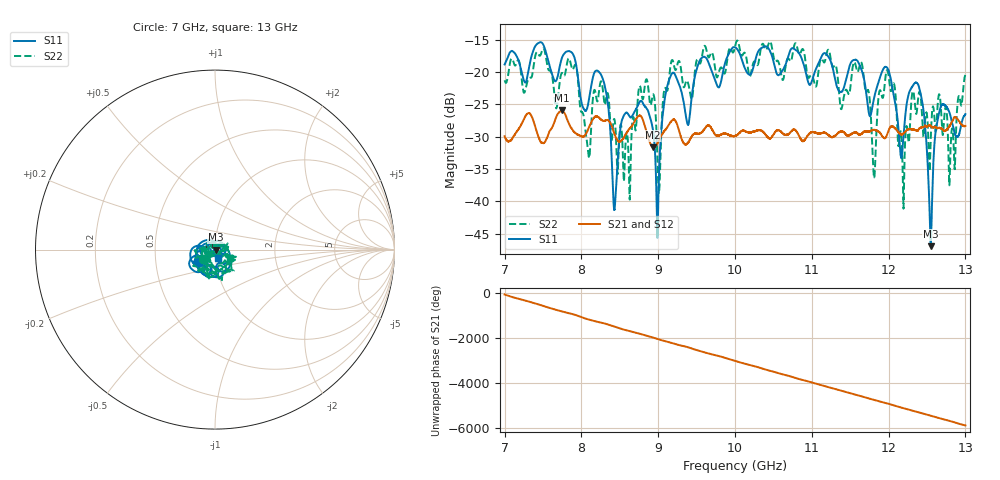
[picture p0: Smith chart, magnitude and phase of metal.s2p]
[Version] 2.0
! Rohde & Schwarz Vector Network Analyzer
! Rohde-Schwarz,ZNL20-2Port,1323001220200009,1.71.1.10-23.02.1.238
! Port Assignments:
! Nominal Port -> Actual Test Port
!  1 -> 1
!  2 -> 2
! Created: GMT+3 2024-09-24 15:50:20
# Hz S DB R 50
[Number of Ports] 2
[Two-Port Data Order] 21_12
! freq[Hz]  S11[mag dB]  S11[ang]  S21[mag dB]  S21[ang]  S12[mag dB]  S12[ang]  S22[mag dB]  S22[ang]
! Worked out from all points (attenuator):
!   6001 points, 7 GHz to 13 GHz, reference 50 ohm
!   highest |S21| = -25.95 dB at 7.746 GHz (marker M1); lowest = -31.7 dB at 8.931 GHz (marker M2)
!   lowest |S11| = -46.9 dB at 12.55 GHz (marker M3), VSWR 1.01, Z = 50.5 + j6.38e-05 ohm
!   |S11| at or under -10 dB: start of sweep to end of sweep
!   |S22| runs from -41.1 to -15.1 dB; largest |S21 - S12| = 0.0011
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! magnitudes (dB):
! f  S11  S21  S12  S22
! 7 GHz  -18.9  -29.9  -29.9  -21.3
! 7.746 GHz  -17.8  -26.0  -26.0  -20.2
! 8 GHz  -24.7  -29.9  -29.9  -26.2
! 8.093 GHz  -24.6  -28.7  -28.7  -32.9
! 8.278 GHz  -21.1  -27.6  -27.5  -22.7
! 8.432 GHz  -41.1  -29.6  -29.5  -27.4
! 8.559 GHz  -26.6  -30.0  -29.9  -35.9
! 8.931 GHz  -28.9  -31.7  -31.7  -23.6
! 9 GHz  -40.6  -30.8  -30.7  -37.1
! 9.167 GHz  -20.5  -27.7  -27.6  -18.6
! 9.386 GHz  -28.2  -31.0  -31.0  -21.6
! 10 GHz  -16.2  -29.9  -29.8  -16.1
! 11 GHz  -21.5  -29.3  -29.2  -20.5
! 11.64 GHz  -19.5  -29.6  -29.6  -18.5
! 11.81 GHz  -24.1  -28.9  -29.0  -36.3
! 12 GHz  -19.8  -29.1  -29.0  -20.6
! 12.19 GHz  -30.7  -29.6  -29.5  -39.1
! 12.4 GHz  -22.5  -28.7  -28.8  -23.1
! 12.55 GHz  -46.9  -28.4  -28.4  -29.9
! 12.68 GHz  -25.5  -28.7  -28.7  -24.7
! 12.8 GHz  -26.7  -28.2  -28.1  -32.9
! 13 GHz  -26.5  -28.3  -28.4  -20.5
